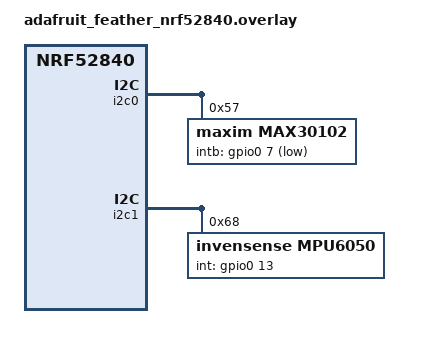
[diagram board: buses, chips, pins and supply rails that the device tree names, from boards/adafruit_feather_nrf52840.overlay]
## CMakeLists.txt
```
# SPDX-License-Identifier: AGPL-3.0-or-later

cmake_minimum_required(VERSION 3.20.0)

find_package(Zephyr REQUIRED HINTS $ENV{ZEPHYR_BASE})

project(max30102_demo)

nanopb_generate_cpp(proto_sources proto_headers RELPATH .
    src/simple.proto
)
# we need to be able to include generated header files
zephyr_library_include_directories(${CMAKE_CURRENT_BINARY_DIR})

target_sources(app PRIVATE src/main.c)
```

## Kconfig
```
mainmenu "Max30102 Demo"

source "Kconfig.zephyr"
```

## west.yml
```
manifest:
  remotes:
    - name: nrfconnect
      url-base: https://github.com/nrfconnect
  projects:
    - name: nrf
      repo-path: sdk-nrf
      remote: nrfconnect
      revision: v1.7.1
      import: true
    # Drivers repository
    - name: max30102
      path: max
      url: https://github.com/tinkhauser/max30102_zephyr
      revision: main
  self:
    # This repository should be cloned to 
    path: max30102-demo
```

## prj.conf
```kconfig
CONFIG_GPIO=y


# General config
CONFIG_LOG=y
CONFIG_LOG_BUFFER_SIZE=2048
CONFIG_LOG_DEFAULT_LEVEL=0
CONFIG_LOG2_MODE_DEFERRED=y
CONFIG_CBPRINTF_FP_SUPPORT=y
CONFIG_STDOUT_CONSOLE=y
CONFIG_I2C=y
CONFIG_SENSOR=y
CONFIG_SENSOR_LOG_LEVEL_DBG=y

#CONFIG_MAIN_STACK_SIZE=4096
#CONFIG_SYSTEM_WORKQUEUE_STACK_SIZE=4096
#CONFIG_ISR_STACK_SIZE=4096
#CONFIG_PRIVILEGED_STACK_SIZE=4096
#CONFIG_BT_RX_STACK_SIZE=4096
#CONFIG_BT_HCI_TX_STACK_SIZE_WITH_PROMPT=y
#CONFIG_BT_HCI_TX_STACK_SIZE=4096
#CONFIG_MPSL_SIGNAL_STACK_SIZE=2048
#CONFIG_SDC_RX_STACK_SIZE=2048

#CONFIG_THREAD_ANALYZER_AUTO_STACK_SIZE=2048
#CONFIG_THREAD_ANALYZER=y
#CONFIG_THREAD_ANALYZER_AUTO=y
#CONFIG_THREAD_NAME=y
#CONFIG_THREAD_MONITOR=y

# choose UART console
CONFIG_UART_CONSOLE=y

# choose RTT console
#CONFIG_UART_CONSOLE=n
#CONFIG_USE_SEGGER_RTT=y
#CONFIG_RTT_CONSOLE=y

# JLINK
#CONFIG_SHELL_BACKEND_RTT=y
#CONFIG_USE_SEGGER_RTT=y



#MAX30102
CONFIG_MAX30102=y
#CONFIG_MAX30102_HEART_RATE_MODE=y
CONFIG_MAX30102_SPO2_MODE=y
# Swapped on clone (IR)
CONFIG_MAX30102_LED1_PA=0x2f
# Swapped on clone (Red)
CONFIG_MAX30102_LED2_PA=0x2f
CONFIG_MAX30102_FIFO_A_FULL=2
CONFIG_MAX30102_TRIGGER=y
CONFIG_MAX30102_TRIGGER_OWN_THREAD=y

# MPU6050
CONFIG_MPU6050=n
CONFIG_MPU6050_TRIGGER_OWN_THREAD=n

# BLE
CONFIG_BT=y
#CONFIG_BT_DEBUG_LOG=y
CONFIG_BT_PERIPHERAL=y
CONFIG_BT_DEVICE_NAME="BT832A"
CONFIG_BT_GATT_CLIENT=y
CONFIG_BT_HCI_ACL_FLOW_CONTROL=y
CONFIG_BT_USER_PHY_UPDATE=y
CONFIG_BT_CTLR_PHY_2M=y
CONFIG_BT_CTLR_PHY_CODED=n
CONFIG_BT_ATT_PREPARE_COUNT=2
CONFIG_BT_CONN_TX_MAX=2
CONFIG_BT_L2CAP_TX_BUF_COUNT=2
CONFIG_BT_BUF_ACL_TX_SIZE=250
CONFIG_BT_BUF_ACL_RX_SIZE=250
CONFIG_BT_L2CAP_TX_MTU=250

# Setting to get state to align with what maxim's spo2 alg expects
CONFIG_MAX30102_ADC_RGE=1
CONFIG_MAX30102_SR=1
CONFIG_MAX30102_SMP_AVE=2

# Protobuf
CONFIG_NANOPB=y
```

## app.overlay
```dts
/*
 * Copyright (c) 2022 EVERGREEN FUND 501(c)(3)
 * SPDX-License-Identifier: AGPL-3.0-or-later
 */

&i2c0 {
    status = "okay";

	max30102@57 {
		compatible = "maxim,max30102";
		label = "MAX30102";
		reg = <0x57>;
		status = "okay";
	};
};
```

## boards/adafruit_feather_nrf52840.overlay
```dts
/*
 * Copyright (c) 2021 EVERGREEN FUND 501(c)(3)
 * Copyright (c) 2022 Jacob Tinkhauser
 *
 * SPDX-License-Identifier: AGPL-3.0-or-later
 */

&i2c0 {
    status = "okay";
    max30102: max30102@57 {
        compatible = "maxim,max30102";
        reg = <0x57>;
        intb-gpios = <&gpio0 7 GPIO_ACTIVE_LOW>;
        label = "MAX30102";
        mode = <3>;
        fifo-a-full = <1>;
    };
}; 

&i2c1 {
    status = "okay";
    mpu6050: mpu6050@68 {
        compatible = "invensense,mpu6050";
        reg = <0x68>;
        label = "MPU6050";
        int-gpios = <&gpio0 13 GPIO_ACTIVE_HIGH>;
    };
};
```

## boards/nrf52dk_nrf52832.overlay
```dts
/*
 * Copyright (c) 2021 EVERGREEN FUND 501(c)(3)
 *
 * SPDX-License-Identifier: AGPL-3.0-or-later
 */

&i2c0 {
    status = "okay";
    max30102: max30102@57 {
        compatible = "maxim,max30102";
        reg = <0x57>;
        intb-gpios = <&gpio0 20 GPIO_ACTIVE_LOW>; /* P0.00 / 3 */
        label = "MAX30102";
        mode = <3>;
        fifo-a-full = <1>;
    };
};
```

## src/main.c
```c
/*
 * Copyright (c) 2021 EVERGREEN FUND 501(c)(3)
 * Copyright (c) 2022 Jacob Tinkhauser
 *
 * SPDX-License-Identifier: AGPL-3.0-or-later
 */

#include <bluetooth/bluetooth.h>
#include <bluetooth/conn.h>
#include <bluetooth/gatt.h>
#include <bluetooth/hci.h>
#include <bluetooth/uuid.h>
#include <device.h>
#include <devicetree.h>
#include <drivers/gpio.h>
#include <drivers/sensor.h>
#include <errno.h>
#include <logging/log.h>
#include <max30102.h>
#include <stddef.h>
#include <string.h>
#include <stdio.h>
#include <sys/byteorder.h>
#include <sys/printk.h>
#include <zephyr.h>
#include <zephyr/types.h>

#include <pb_encode.h>
#include <pb_decode.h>
#include "simple.pb.c" /* TODO: why's does this require *.c and not *.h? */




/* Static Functions */
static ssize_t recv(struct bt_conn *conn,
                    const struct bt_gatt_attr *attr, const void *buf,
                    uint16_t len, uint16_t offset, uint8_t flags);

struct Led_sample {
    uint32_t red;
    uint32_t ir;
};

struct Sample_packet {
    struct Led_sample samples[30];
    uint8_t sample_num;
};

/* For Logging */
LOG_MODULE_REGISTER(app, CONFIG_LOG_DEFAULT_LEVEL);

K_SEM_DEFINE(sem, 0, 1);

/* Nanopb */
bool encode_message(struct Sample_packet *packet, uint8_t *buffer, size_t buffer_size, size_t *message_length) {
    bool status;

    /* Allocate space on the stack to store the message data.
     *
     * It is a good idea to always initialize your structures
     * so that you do not have garbage data from RAM in there.
     */
    DataFrame dataframe_msg = DataFrame_init_zero;

    /* Create a stream that will write to our buffer. */
    pb_ostream_t stream = pb_ostream_from_buffer(buffer, buffer_size);

    for (int i = 0; i < 24; i++) {
        dataframe_msg.ppgs[i].Red = packet->samples[i].red;
        dataframe_msg.ppgs[i].IR = packet->samples[i].ir;
    }

    /* Now we are ready to encode the message! */
    status = pb_encode(&stream, DataFrame_fields, &dataframe_msg);
    *message_length = stream.bytes_written;

    if (!status) {
        printk("Encoding failed: %s\n", PB_GET_ERROR(&stream));
    }

    return status;
}

bool decode_message(uint8_t *buffer, size_t message_length) {
    bool status;

    /* Allocate space for the decoded message. */
    DataFrame message = DataFrame_init_zero;

    /* Create a stream that reads from the buffer. */
    pb_istream_t stream = pb_istream_from_buffer(buffer, message_length);

    /* Now we are ready to decode the message. */
    status = pb_decode(&stream, DataFrame_fields, &message);

    /* Check for errors... */
    if (status) {
        /* Print the data contained in the message. */
        printk("Buffer contains: ");
        printk("Red was %d!\n", (int)message.ppgs[0].Red);
        printk("IR was %d!\n", (int)message.ppgs[0].IR);
        printk("Message length %d\n", message_length);
    } else {
        printk("Decoding failed: %s\n", PB_GET_ERROR(&stream));
    }

    return status;
}

static uint32_t rand_val = 1;

/* BT832A Custom Service  */
static struct bt_uuid_128 sensor_service_uuid = BT_UUID_INIT_128(
    BT_UUID_128_ENCODE(0x0000cafe, 0xb0ba, 0x8bad, 0xf00d, 0xdeadbeef0000));

/* Sensor Control Characteristic */
static struct bt_uuid_128 sensor_ctrl_char_uuid = BT_UUID_INIT_128(
    BT_UUID_128_ENCODE(0x0001cafe, 0xb0ba, 0x8bad, 0xf00d, 0xdeadbeef0000));

/* Sensor Data Characteristic */
static struct bt_uuid_128 sensor_data_notif_uuid = BT_UUID_INIT_128(
    BT_UUID_128_ENCODE(0x0002cafe, 0xb0ba, 0x8bad, 0xf00d, 0xdeadbeef0000));

#define DEVICE_NAME CONFIG_BT_DEVICE_NAME
#define DEVICE_NAME_LEN (sizeof(DEVICE_NAME) - 1)
#define ADV_LEN 12

/* Advertising data */
static uint8_t manuf_data[ADV_LEN] = {
    0x01 /*SKD version */,
    0x83 /* STM32WB - P2P Server 1 */,
    0x00 /* GROUP A Feature  */,
    0x00 /* GROUP A Feature */,
    0x00 /* GROUP B Feature */,
    0x00 /* GROUP B Feature */,
    0x00, /* BLE MAC start -MSB */
    0x00,
    0x00,
    0x00,
    0x00,
    0x00, /* BLE MAC stop */
};

static const struct bt_data ad[] = {
    BT_DATA_BYTES(BT_DATA_FLAGS, (BT_LE_AD_GENERAL | BT_LE_AD_NO_BREDR)),
    BT_DATA(BT_DATA_NAME_COMPLETE, DEVICE_NAME, DEVICE_NAME_LEN),
    BT_DATA(BT_DATA_MANUFACTURER_DATA, manuf_data, ADV_LEN)};

/* BLE connection */
struct bt_conn *conn;
/* Notification state */
volatile bool notify_enable;

static void mpu_ccc_cfg_changed(const struct bt_gatt_attr *attr, uint16_t value) {
    ARG_UNUSED(attr);
    notify_enable = (value == BT_GATT_CCC_NOTIFY);
    LOG_INF("Notification %s", notify_enable ? "enabled" : "disabled");
}

/* The BT832A board is acting as GATT server.
 * The other side is the BLE GATT client.
 * TODO change naming
 */

/* BT832A GATT services and characteristic */

BT_GATT_SERVICE_DEFINE(bt832a_svc,
                       BT_GATT_PRIMARY_SERVICE(&sensor_service_uuid),
                       BT_GATT_CHARACTERISTIC(&sensor_ctrl_char_uuid.uuid,
                                              BT_GATT_CHRC_READ | BT_GATT_CHRC_WRITE_WITHOUT_RESP,
                                              BT_GATT_PERM_WRITE, NULL, recv, (void *)1),
                       BT_GATT_CHARACTERISTIC(&sensor_data_notif_uuid.uuid,
                                              BT_GATT_CHRC_NOTIFY, BT_GATT_PERM_READ, NULL, NULL,
                                              &rand_val),
                       BT_GATT_CCC(mpu_ccc_cfg_changed,
                                   BT_GATT_PERM_READ | BT_GATT_PERM_WRITE), );

static ssize_t recv(struct bt_conn *conn,
                    const struct bt_gatt_attr *attr, const void *buf,
                    uint16_t len, uint16_t offset, uint8_t flags) {
    LOG_INF("Sensor Control Data Received!");

    return 0;
}

static void bt_ready(int err) {
    if (err) {
        LOG_ERR("Bluetooth init failed (err %d)", err);
        return;
    }
    LOG_INF("Bluetooth initialized");
    /* Start advertising */
    err = bt_le_adv_start(BT_LE_ADV_CONN, ad, ARRAY_SIZE(ad), NULL, 0);
    if (err) {
        LOG_ERR("Advertising failed to start (err %d)", err);
        return;
    }

    LOG_INF("Configuration mode: waiting connections...");
}

static void connected(struct bt_conn *connected, uint8_t err) {
    if (err) {
        LOG_ERR("Connection failed (err %u)", err);
    } else {
        LOG_INF("Connected");
        if (!conn) {
            conn = bt_conn_ref(connected);
        }
    }
}

static void disconnected(struct bt_conn *disconn, uint8_t reason) {
    if (conn) {
        bt_conn_unref(conn);
        conn = NULL;
    }

    LOG_INF("Disconnected (reason %u)", reason);
}

static struct bt_conn_cb conn_callbacks = {
    .connected = connected,
    .disconnected = disconnected,
};

/**
 * @brief IntWorkQueue handler. Used to process interrupts coming from MAX30102 interrupt pin
 * Because all activity is performed on cooperative level no addition protection against data corruption is required
 * @param wrk work object
 * @warning  Called by system scheduled in cooperative level.
 */
/*
static void interrupt_workQueue_handler(struct k_work *wrk) {
    int err;
    static uint8_t sample_num;
    sample_num++;
    LOG_INF("MAX30102 Interrupt: %d!", sample_num);
    gpio_pin_toggle(gpio_0_dev, DEBUG_LED_2);

    // Read interrupt status registers
    uint8_t status_1, status_2;
    err = max30102_get_interrupt_status_1(dev, &status_1);
    err = max30102_get_interrupt_status_2(dev, &status_2);
    if (err)
    {
        LOG_ERR("Failed to read status registers, error code: %d", err);
    }

    // max30102 is ready for temp reading (DIE_TEMP_RDY)
    if (status_2 == 2) {
        struct sensor_value temp;
        sensor_sample_fetch_chan(dev, SENSOR_CHAN_DIE_TEMP);
        sensor_channel_get(dev, SENSOR_CHAN_DIE_TEMP, &temp);
        float f_temp = sensor_value_to_double(&temp);
        LOG_INF("TEMP=%f", f_temp);
    }
    // FIFO is almost full (A_FULL)
    else if (status_1 == 128) {
        LOG_INF("FIFO full");
        // Read data from MAX30102
        struct sensor_value red;
        struct sensor_value ir;

        struct Sample_packet packet = {.sample_num = sample_num, .end_bytes = {'\r', '\n'}};
        // struct Sample_packet packet = {.end_bytes = {'\r', '\n'}};
        // struct Sample_packet packet;

        for (int i = 0; i < 30; i++) {
            sensor_sample_fetch(dev);
            sensor_channel_get(dev, SENSOR_CHAN_RED, &red);
            sensor_channel_get(dev, SENSOR_CHAN_IR, &ir);

            // Print red LED data
            LOG_INF("RED=%x IR=%x", red.val1, ir.val1);

            packet.samples[i].red = reverse_32(red.val1);
            packet.samples[i].ir = reverse_32(ir.val1);
        }
        if (conn) {
            if (notify_enable) {
                err = bt_gatt_notify(NULL, &bt832a_svc.attrs[4],
                                     &packet, sizeof(packet));
                if (err) {
                    LOG_ERR("Notify error: %d", err);
                } else {
                    LOG_INF("Send notify ok");
                    rand_val++;
                }
            } else {
                LOG_INF("Notify not enabled");
            }
        } else {
            LOG_INF("BLE not connected");
        }
    }
    // Ambient Light Cancellation Overflow (ALC_OVF)
    else {
        // TODO: deal with corrupted FIFO
    }
}
*/

#ifdef CONFIG_MAX30102_TRIGGER

/* Handles interrupts */
static void trigger_handler(const struct device *max30102,
                            const struct sensor_trigger *trigger) {
    /* switch (trigger->type) {
        case SENSOR_TRIG_DATA_READY:
            if (sensor_sample_fetch(max30102)) {
                LOG_ERR("Sample fetch error\n");
                return;
            }
            LOG_INF("Fetched sample\n");
            k_sem_give(&sem);
            break;
        default:
            LOG_ERR("Unknown trigger\n");
    }
    */
    static uint8_t sample_num;
    sample_num++;

    struct Sample_packet packet = {.sample_num = sample_num};
    for (int i = 0; i < 30; i++) {
        if (sensor_sample_fetch(max30102)) {
            LOG_ERR("Sample fetch error\n");
            return;
        }
        LOG_INF("Fetched sample\n");
        struct sensor_value red;
        struct sensor_value ir;
        sensor_channel_get(max30102, SENSOR_CHAN_RED, &red);
        sensor_channel_get(max30102, SENSOR_CHAN_IR, &ir);

        packet.samples[i].red = red.val1;
        packet.samples[i].ir = ir.val1;

        // LOG_INF("RED=%x IR=%x", red.val1, ir.val1);
    }

    /* This is the buffer where we will store our message. */
    uint8_t buffer[DataFrame_size];
    size_t message_length;

    /* Encode our message */
    if (!encode_message(&packet, buffer, sizeof(buffer), &message_length)) {
        return;
    }

    //thread_analyzer_print();
    //decode_message(buffer, message_length);

    if (conn) {
        if (notify_enable) {
            /* Since protobuf uses var ints, the message length will change based on input data */
            int err = bt_gatt_notify(NULL, &bt832a_svc.attrs[4], &buffer, message_length);
            if (err) {
                LOG_ERR("Notify error: %d", err);
            } else {
                LOG_INF("Send notify ok");
            }
        } else {
            LOG_INF("Notify not enabled");
        }
    } else {
        LOG_INF("BLE not connected");
    }

    k_sem_give(&sem);
}

static void drdy_trigger_mode(const struct device *max30102) {
    struct sensor_trigger trig = {
        .type = SENSOR_TRIG_DATA_READY,
        .chan = SENSOR_CHAN_ALL,
    };

    if (sensor_trigger_set(max30102, &trig, trigger_handler)) {
        LOG_ERR("Could not set trigger\n");
        return;
    }
    LOG_INF("Set trigger handler\n");
}
#endif

static const char *now_str(void)
{
    static char buf[16]; /* ...HH:MM:SS.MMM */
    uint32_t now = k_uptime_get_32();
    unsigned int ms = now % MSEC_PER_SEC;
    unsigned int s;
    unsigned int min;
    unsigned int h;

    now /= MSEC_PER_SEC;
    s = now % 60U;
        now /= 60U;
        min = now % 60U;
        now /= 60U;
        h = now;

        snprintf(buf, sizeof(buf), "%u:%02u:%02u.%03u",
                 h, min, s, ms);
        return buf;
}

static int process_mpu6050(const struct device *dev) {
    struct sensor_value temperature;
    struct sensor_value accel[3];
    struct sensor_value gyro[3];
    int rc = sensor_sample_fetch(dev);

    if (rc == 0) {
        rc = sensor_channel_get(dev, SENSOR_CHAN_ACCEL_XYZ,
                                accel);
    }
    if (rc == 0) {
        rc = sensor_channel_get(dev, SENSOR_CHAN_GYRO_XYZ,
                                gyro);
    }
    if (rc == 0) {
        rc = sensor_channel_get(dev, SENSOR_CHAN_AMBIENT_TEMP,
                                &temperature);
    }
    if (rc == 0) {
        LOG_INF(
            "[%s]:%g Cel\n"
            "accel %f %f %f m/s/s\n"
            "gyro  %f %f %f rad/s\n",
            now_str(),
            sensor_value_to_double(&temperature),
            sensor_value_to_double(&accel[0]),
            sensor_value_to_double(&accel[1]),
            sensor_value_to_double(&accel[2]),
            sensor_value_to_double(&gyro[0]),
            sensor_value_to_double(&gyro[1]),
            sensor_value_to_double(&gyro[2]));
    } else {
        LOG_ERR("sample fetch/get failed: %d\n", rc);
    }

    return rc;
}

#ifdef CONFIG_MPU6050_TRIGGER
static struct sensor_trigger trigger;

static void handle_mpu6050_drdy(const struct device *dev,
                const struct sensor_trigger *trig)
{
    int rc = process_mpu6050(dev);

    if (rc != 0) {
        //printf("cancelling trigger due to failure: %d\n", rc);
        //(void)sensor_trigger_set(dev, trig, NULL);
        return;
    }
}
#endif /* CONFIG_MPU6050_TRIGGER */

void main(void) {
    /* MPU 6050 */
#ifdef CONFIG_MPU6050
    const struct device *mpu6050 = DEVICE_DT_GET_ANY(invensense_mpu6050);

    if (!mpu6050) {
        LOG_ERR("Failed to find sensor invesense_mpu6050\n");
        return;
    }
#endif

    const struct device *max30102_dev = DEVICE_DT_GET_ANY(maxim_max30102);

    if (max30102_dev == NULL) {
        LOG_ERR("Could not get max30102 device\n");
        return;
    }
    if (!device_is_ready(max30102_dev)) {
        LOG_ERR("Device %s is not ready\n", max30102_dev->name);
        return;
    }
    int ret;

#ifdef CONFIG_MPU6050_TRIGGER
    trigger = (struct sensor_trigger){
        .type = SENSOR_TRIG_DATA_READY,
        .chan = SENSOR_CHAN_ALL,
    };
    if (sensor_trigger_set(mpu6050, &trigger,
                           handle_mpu6050_drdy) < 0) {
        LOG_ERR("Cannot configure trigger\n");
        return;
    }
    LOG_INF("Configured for triggered sampling.\n");
#endif

#ifdef CONFIG_MAX30102_TRIGGER
    drdy_trigger_mode(max30102_dev);
#endif

    /* BLE part */
    bt_conn_cb_register(&conn_callbacks);

    /* Initialize the Bluetooth Subsystem */
    ret = bt_enable(bt_ready);
    if (ret) {
        LOG_ERR("Bluetooth init failed (err %d)", ret);
    }

#ifdef CONFIG_MPU6050
    while (!IS_ENABLED(CONFIG_MPU6050_TRIGGER)) {
        int rc = process_mpu6050(mpu6050);

        if (rc != 0) {
            break;
        }
        k_sleep(K_SECONDS(2));
    }
#endif

    k_sem_take(&sem, K_FOREVER);
}
```
